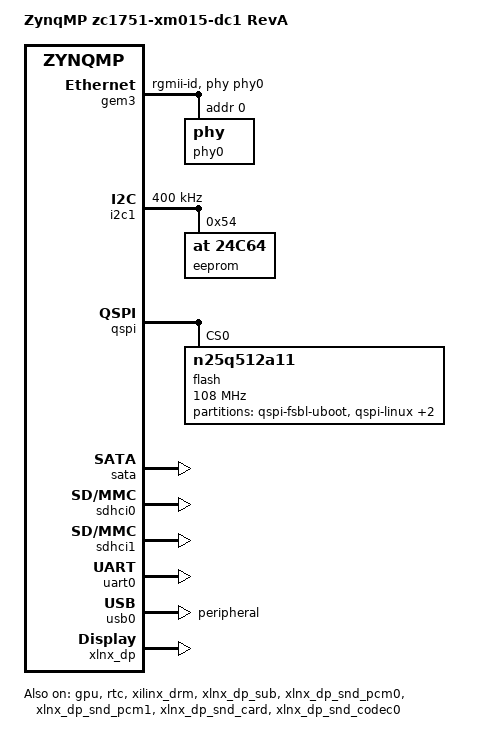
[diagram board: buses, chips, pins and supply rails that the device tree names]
/*
 * dts file for Xilinx ZynqMP zc1751-xm015-dc1
 *
 * (C) Copyright 2015, Xilinx, Inc.
 *
 * Michal Simek <michal.simek@xilinx.com>
 *
 * This program is free software; you can redistribute it and/or
 * modify it under the terms of the GNU General Public License as
 * published by the Free Software Foundation; either version 2 of
 * the License, or (at your option) any later version.
 */

/dts-v1/;

/include/ "zynqmp.dtsi"
/ {
	model = "ZynqMP zc1751-xm015-dc1 RevA";
	compatible = "xlnx,zynqmp-zc1751", "xlnx,zynqmp";

	aliases {
		ethernet0 = &gem3;
		gpio0 = &gpio;
		i2c0 = &i2c1;
		rtc0 = &rtc;
		serial0 = &uart0;
		spi0 = &qspi;
		usb0 = &usb0;
	};

	chosen {
		bootargs = "earlycon=cdns,mmio,0xff000000,115200n8";
		stdout-path = "serial0:115200n8";
	};

	memory {
		device_type = "memory";
		reg = <0x0 0x0 0x80000000>, <0x8 0x00000000 0x80000000>;
	};
};

&amba {
	/* clock for uart, can, nand, i2c */
	clk100: clk100 {
		compatible = "fixed-clock";
		#clock-cells = <0>;
		clock-frequency = <100000000>;
	};

	/* Gems */
	clk125: clk125 {
		compatible = "fixed-clock";
		#clock-cells = <0>;
		clock-frequency = <125000000>;
	};

	/* clock for sd/emmc */
	clk200: clk200 {
		compatible = "fixed-clock";
		#clock-cells = <0>;
		clock-frequency = <200000000>;
	};

	/* clock for usb */
	clk250: clk250 {
		compatible = "fixed-clock";
		#clock-cells = <0>;
		clock-frequency = <250000000>;
	};

	/* clock for qspi */
	clk300: clk300 {
		compatible = "fixed-clock";
		#clock-cells = <0>;
		clock-frequency = <300000000>;
	};

	dp_aclk: clock0 {
		compatible = "fixed-clock";
		#clock-cells = <0>;
		clock-frequency = <100000000>;
		clock-accuracy = <100>;
	};

	dp_aud_clk: clock1 {
		compatible = "fixed-clock";
		#clock-cells = <0>;
		clock-frequency = <24576000>;
		clock-accuracy = <100>;
	};

	dpdma_clk: dpdma_clk {
		compatible = "fixed-clock";
		#clock-cells = <0x0>;
		clock-frequency = <533000000>;
	};

	drm_clock: drm_clock {
		compatible = "fixed-clock";
		#clock-cells = <0x0>;
		clock-frequency = <262750000>;
		clock-accuracy = <0x64>;
	};
};

/* fpd_dma clk 667MHz, lpd_dma 500MHz */
&fpd_dma_chan1 {
	status = "okay";
	xlnx,include-sg; /* for testing purpose */
	xlnx,overfetch; /* for testing purpose */
	xlnx,ratectrl = <0>; /* for testing purpose */
	xlnx,src-issue = <31>;
};

&fpd_dma_chan2 {
	status = "okay";
	xlnx,ratectrl = <100>; /* for testing purpose */
	xlnx,src-issue = <4>; /* for testing purpose */
};

&fpd_dma_chan3 {
	status = "okay";
};

&fpd_dma_chan4 {
	status = "okay";
	xlnx,include-sg; /* for testing purpose */
};

&fpd_dma_chan5 {
	status = "okay";
};

&fpd_dma_chan6 {
	status = "okay";
	xlnx,include-sg; /* for testing purpose */
};

&fpd_dma_chan7 {
	status = "okay";
};

&fpd_dma_chan8 {
	status = "okay";
	xlnx,include-sg; /* for testing purpose */
};

&gem3 {
	status = "okay";
	clocks = <&clk125>, <&clk125>, <&clk125>;
	local-mac-address = [00 0a 35 00 02 90];
	phy-handle = <&phy0>;
	phy-mode = "rgmii-id";
	phy0: phy@0{
		reg = <0>;
	};
};

&gpio {
	status = "okay";
	clocks = <&clk100>;
};

&gpu {
	status = "okay";
};

&i2c1 {
	status = "okay";
	clock-frequency = <400000>;
	clocks = <&clk100>;
	eeprom@54 {
		compatible = "at,24c64"; /* 24AA64 */
		reg = <0x54>;
	};
};

&qspi {
	status = "okay";
	clocks = <&clk300 &clk300>;
	flash@0 {
		compatible = "n25q512a11"; /* Micron MT25QU512ABB8ESF */
		#address-cells = <1>;
		#size-cells = <1>;
		reg = <0x0>;
		spi-tx-bus-width = <1>;
		spi-rx-bus-width = <4>;
		spi-max-frequency = <108000000>; /* Based on DC1 spec */
		partition@qspi-fsbl-uboot { /* for testing purpose */
			label = "qspi-fsbl-uboot";
			reg = <0x0 0x100000>;
		};
		partition@qspi-linux { /* for testing purpose */
			label = "qspi-linux";
			reg = <0x100000 0x500000>;
		};
		partition@qspi-device-tree { /* for testing purpose */
			label = "qspi-device-tree";
			reg = <0x600000 0x20000>;
		};
		partition@qspi-rootfs { /* for testing purpose */
			label = "qspi-rootfs";
			reg = <0x620000 0x5E0000>;
		};
	};
};

&rtc {
	status = "okay";
};

&sata {
	status = "okay";
	clocks = <&clk250>;
};

/* eMMC */
&sdhci0 {
	status = "okay";
	clocks = <&clk200>, <&clk200>;
};

/* SD1 with level shifter */
&sdhci1 {
	status = "okay";
	clocks = <&clk200>, <&clk200>;
};

&uart0 {
	status = "okay";
	clocks = <&clk100 &clk100>;
};

/* ULPI SMSC USB3320 */
&usb0 {
	status = "okay";
	dr_mode = "peripheral";
	maximum-speed = "high-speed";
	clocks = <&clk250>, <&clk250>;
};

&xilinx_drm {
	status = "okay";
	clocks = <&drm_clock>;
};

&xlnx_dp {
	status = "okay";
	clocks = <&dp_aclk>, <&dp_aud_clk>;
	xlnx,max-pclock-frequency = <300000>;
};

&xlnx_dp_sub {
	status = "okay";
	xlnx,vid-fmt = "yuyv";
	xlnx,gfx-fmt = "rgb565";
	xlnx,vid-clk-pl;
};

&xlnx_dp_snd_pcm0 {
	status = "okay";
};

&xlnx_dp_snd_pcm1 {
	status = "okay";
};

&xlnx_dp_snd_card {
	status = "okay";
};

&xlnx_dp_snd_codec0 {
	status = "okay";
};

&xlnx_dpdma {
	status = "okay";
	clocks = <&dpdma_clk>;
};
